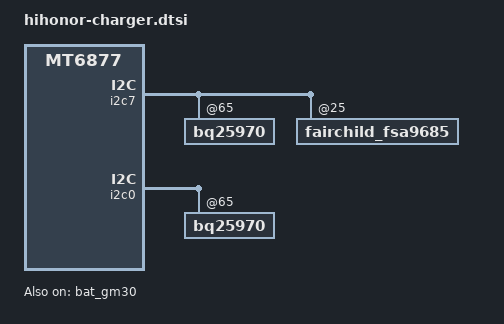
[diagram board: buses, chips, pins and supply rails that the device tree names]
#include "../hihonor_charger/mt6877_ntx_honor_charger.dtsi"



&i2c7 {
	bq25970@65 {
		status = "ok";
	};
	fairchild_fsa9685@25 {
		status = "ok";
	};
	rt9426a_fg@55 {
		status = "disabled";
	};
};

&i2c0 {
	bq25970@65 {
		status = "ok";
	};
};

&bat_gm30 {
	status = "ok";
};
